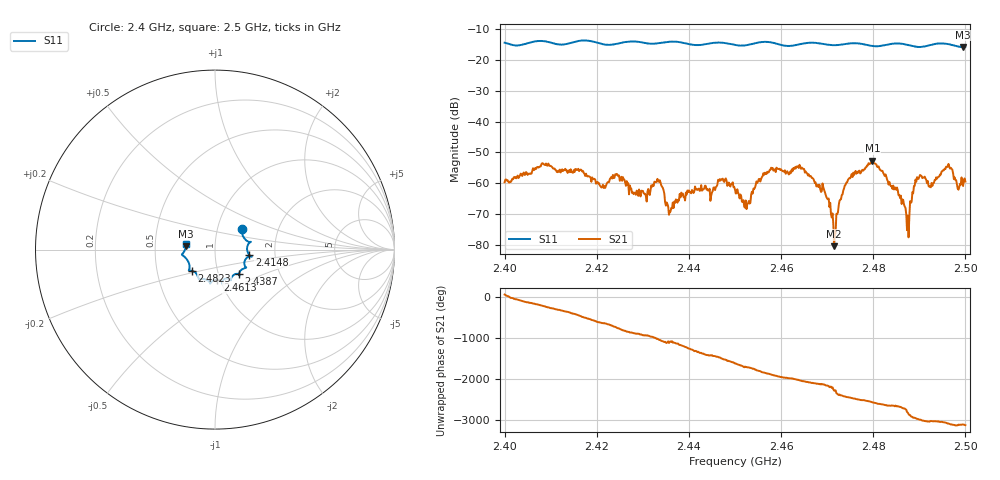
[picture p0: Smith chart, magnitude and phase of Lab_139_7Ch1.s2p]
# Hz S RI R 50
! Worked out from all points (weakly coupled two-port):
!   601 points, 2.4 GHz to 2.5 GHz, reference 50 ohm
!   highest |S21| = -52.67 dB at 2.4798 GHz (marker M1); lowest = -80.4 dB at 2.4715 GHz (marker M2)
!   lowest |S11| = -15.7 dB at 2.4995 GHz (marker M3), VSWR 1.39, Z = 36 + j1.5 ohm
!   |S11| at or under -10 dB: start of sweep to end of sweep
!   S12 and S22 are empty: the file has one direction only
!   S11 on the Smith chart (normalised r, x): 2.4 GHz: 1.31, +0.32; 2.4148 GHz: 1.47, -0.10; 2.4387 GHz: 1.25, -0.36; 2.4613 GHz: 0.97, -0.34; 2.4823 GHz: 0.75, -0.18; 2.5 GHz: 0.72, +0.04
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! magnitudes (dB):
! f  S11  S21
! 2.4 GHz  -14.3  -59.7
! 2.4148 GHz  -14.2  -56.6
! 2.4167 GHz  -13.7  -55.7
! 2.4285 GHz  -14.0  -63.7
! 2.4333 GHz  -14.5  -59.4
! 2.4358 GHz  -14.0  -69.1
! 2.4387 GHz  -14.4  -63.3
! 2.45 GHz  -15.1  -62.1
! 2.4525 GHz  -15.1  -68.4
! 2.4565 GHz  -14.1  -56.5
! 2.4613 GHz  -15.4  -56.1
! 2.4667 GHz  -14.3  -58.3
! 2.4695 GHz  -14.8  -63.0
! 2.4715 GHz  -15.2  -80.4
! 2.4743 GHz  -14.7  -59.7
! 2.4798 GHz  -15.4  -52.7
! 2.4823 GHz  -15.2  -57.1
! 2.4833 GHz  -14.9  -60.4
! 2.4873 GHz  -15.0  -75.2
! 2.49 GHz  -15.7  -58.0
! 2.4995 GHz  -15.7  -60.9
! 2.5 GHz  -15.7  -59.4
